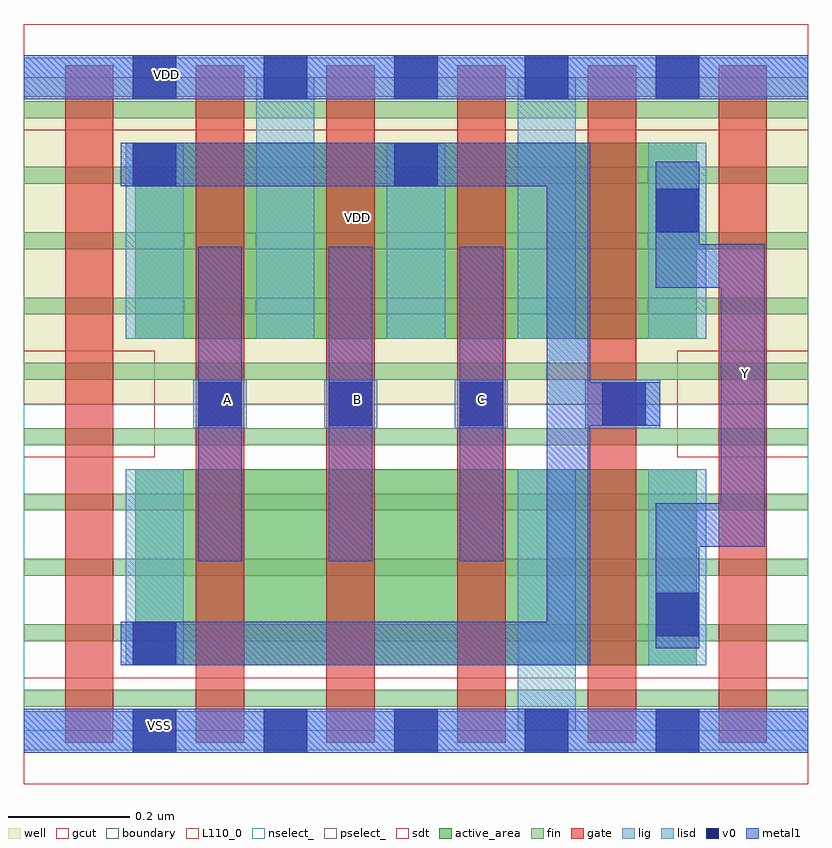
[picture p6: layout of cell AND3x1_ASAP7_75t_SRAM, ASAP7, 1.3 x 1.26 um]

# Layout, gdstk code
import gdstk
lib = gdstk.Library(unit=1e-6, precision=2.5e-10)
def R(c, l, rs):  # rectangles x0, y0, x1, y1
    for r in rs: c.add(gdstk.rectangle(r[:2], r[2:], *l))
def A(c, l, x, y, w, h, nx, ny, dx, dy):  # array of equal rectangles
    R(c, l, [(x+i*dx, y+j*dy, x+i*dx+w, y+j*dy+h) for i in range(nx) for j in range(ny)])
def P(c, l, *ps):  # polygons
    for p in ps: c.add(gdstk.Polygon(p, *l))
well = (1, 0)
fin = (2, 0)
gate = (7, 0)
gcut = (10, 0)
active_area = (11, 0)
nselect_ = (12, 0)
pselect_ = (13, 0)
lig = (16, 0)
lisd = (17, 0)
v0 = (18, 0)
metal1 = (19, 0)
sdt = (88, 0)
boundary = (100, 0)
L110_0 = (110, 0)

and3x1_asap7_75t_sram = lib.new_cell('AND3x1_ASAP7_75t_SRAM')
R(and3x1_asap7_75t_sram, well, [(0,0.54,1.296,1.08)])
A(and3x1_asap7_75t_sram, fin, 0, 0.04, 1.296, 0.028, 1, 10, 0, 0.108)
A(and3x1_asap7_75t_sram, gate, 0.068, -0.02, 0.08, 1.12, 6, 1, 0.216, 0)
R(and3x1_asap7_75t_sram, gate, [(1.148,-0.02,1.228,1.1)])
R(and3x1_asap7_75t_sram, gcut, [(0,-0.088,1.296,0.088), (0,0.452,0.216,0.628), (1.08,0.452,1.296,0.628), (0,0.992,1.296,1.168)])
R(and3x1_asap7_75t_sram, active_area, [(0.184,0.108,1.112,0.432), (0.184,0.648,1.112,0.972)])
R(and3x1_asap7_75t_sram, nselect_, [(0,0,1.296,0.54)])
R(and3x1_asap7_75t_sram, pselect_, [(0,0.54,1.296,1.08)])
A(and3x1_asap7_75t_sram, lig, 0.28, 0.5, 0.088, 0.08, 3, 1, 0.216, 0)
R(and3x1_asap7_75t_sram, lig, [(0,-0.032,1.296,0.032), (0.928,0.5,1.052,0.58), (0,1.048,1.296,1.112)])
A(and3x1_asap7_75t_sram, lisd, 0.168, 0.648, 0.096, 0.324, 3, 1, 0.432, 0)
R(and3x1_asap7_75t_sram, lisd, [(0.816,0,0.912,0.432), (0.168,0.108,0.264,0.432), (1.032,0.108,1.128,0.432), (0.384,0.648,0.48,1.08), (0.816,0.648,0.912,1.08)])
A(and3x1_asap7_75t_sram, v0, 0.18, -0.036, 0.072, 0.072, 5, 2, 0.216, 1.08)
A(and3x1_asap7_75t_sram, v0, 0.288, 0.504, 0.072, 0.072, 3, 1, 0.216, 0)
R(and3x1_asap7_75t_sram, v0, [(0.18,0.108,0.252,0.18), (1.044,0.156,1.116,0.228), (0.956,0.504,1.028,0.576), (1.044,0.824,1.116,0.896), (0.18,0.9,0.252,0.972), (0.612,0.9,0.684,0.972)])
A(and3x1_asap7_75t_sram, metal1, 0.288, 0.28, 0.072, 0.52, 3, 1, 0.216, 0)
R(and3x1_asap7_75t_sram, metal1, [(0,-0.036,1.296,0.036), (0,1.044,1.296,1.116)])
P(and3x1_asap7_75t_sram, metal1, [(1.052,0.576),(0.936,0.576),(0.936,0.972),(0.16,0.972),(0.16,0.9),(0.864,0.9),(0.864,0.18),(0.16,0.18),(0.16,0.108),(0.936,0.108),(0.936,0.504),(1.052,0.504)],
  [(1.224,0.804),(1.116,0.804),(1.116,0.94),(1.044,0.94),(1.044,0.732),(1.152,0.732),(1.152,0.376),(1.044,0.376),(1.044,0.136),(1.116,0.136),(1.116,0.304),(1.224,0.304)])
A(and3x1_asap7_75t_sram, sdt, 0.168, 0.648, 0.096, 0.324, 5, 1, 0.216, 0)
R(and3x1_asap7_75t_sram, sdt, [(0.168,0.108,0.264,0.432), (0.816,0.108,0.912,0.432), (1.032,0.108,1.128,0.432), (1.032,0.108,1.128,0.432), (1.032,0.648,1.128,0.972)])
R(and3x1_asap7_75t_sram, boundary, [(0,0,1.296,1.08)])
R(and3x1_asap7_75t_sram, L110_0, [(0,0,1.296,1.08)])
and3x1_asap7_75t_sram.add(gdstk.Label('VSS', (0.82,-0.208), layer=3, texttype=251))
and3x1_asap7_75t_sram.add(gdstk.Label('VDD', (0.552,0.848), layer=1, texttype=251))
and3x1_asap7_75t_sram.add(gdstk.Label('Y', (1.192,0.59), layer=19, texttype=251))
and3x1_asap7_75t_sram.add(gdstk.Label('VDD', (0.236,1.084), layer=19, texttype=251))
and3x1_asap7_75t_sram.add(gdstk.Label('VSS', (0.224,0.008), layer=19, texttype=251))
and3x1_asap7_75t_sram.add(gdstk.Label('A', (0.336,0.548), layer=19, texttype=251))
and3x1_asap7_75t_sram.add(gdstk.Label('B', (0.552,0.548), layer=19, texttype=251))
and3x1_asap7_75t_sram.add(gdstk.Label('C', (0.756,0.548), layer=19, texttype=251))

lib.write_gds('AND3x1_ASAP7_75t_SRAM.gds')
